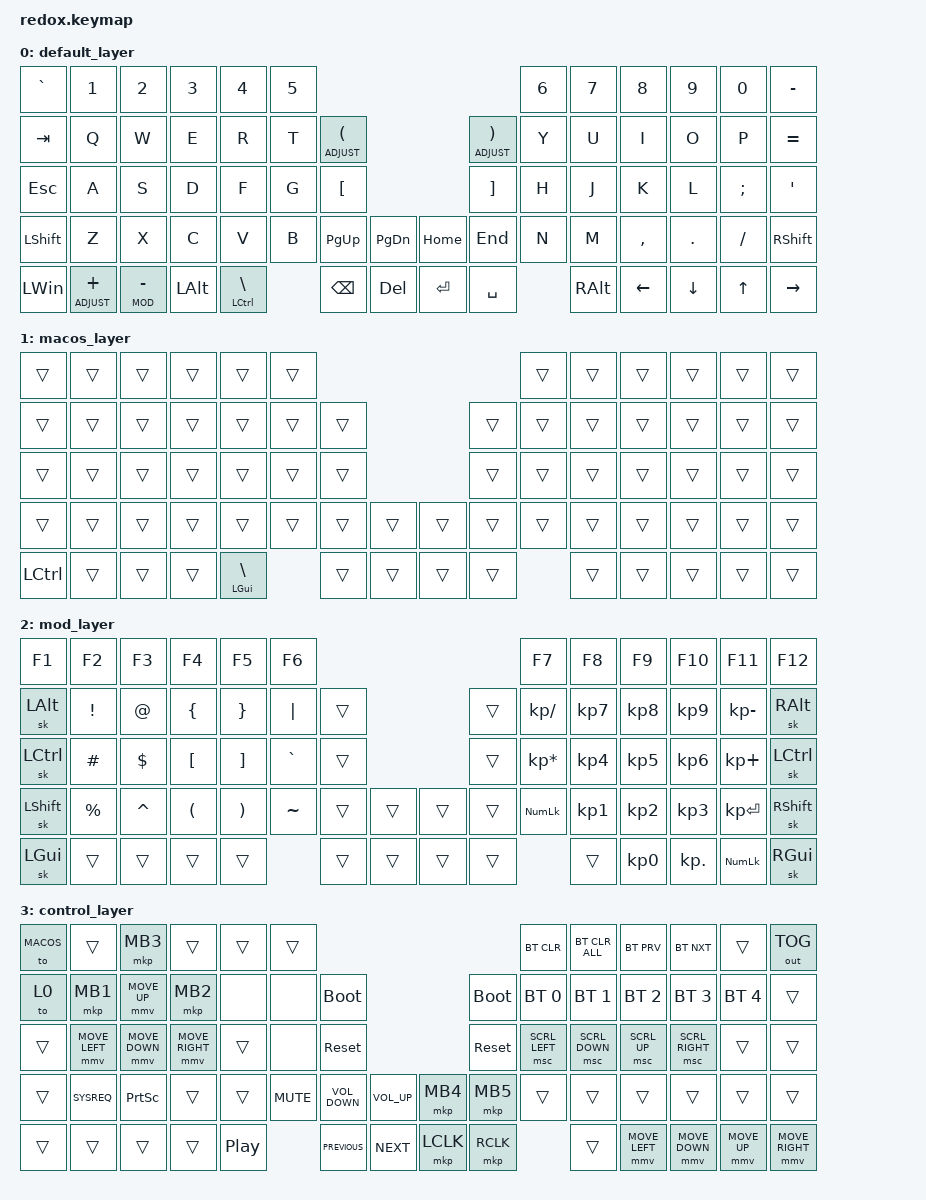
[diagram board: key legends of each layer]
/*
 * Copyright (c) 2021 The ZMK Contributors
 *
 * SPDX-License-Identifier: MIT
 */

#include <behaviors.dtsi>
#include <dt-bindings/zmk/bt.h>
#include <dt-bindings/zmk/keys.h>
#include <dt-bindings/zmk/outputs.h>
#include <dt-bindings/zmk/pointing.h>

#define MACOS 1
#define MOD 2
#define ADJUST 3

/ {
    combos {
        compatible = "zmk,combos";

        dbl_shift_caps_word_combo {
            bindings = <&caps_word>;
            key-positions = <40 55>;
        };
    };

    keymap {
        compatible = "zmk,keymap";

        default_layer {
            // --------------------------------------------------------------------------------------------------------------------------------
            // | ESC   |  1  |  2  |   3   |  4  |  5  |                   ---                |  6    |  7    |  8    |  9   | 0  |    BSPC   |
            // | TAB   |  Q  |  W  |   E   |  R  |  T  |   (   |           ---        |  )    |  Y    |  U    |  I    |  O   | P  |     -     |
            // | CTRL  |  A  |  S  |   D   |  F  |  G  |   [   |           ---        |  ]    |  H    |  J    |  K    |  L   | ;  |     '     |
            // | SHIFT |  Z  |  X  |   C   |  V  |  B  | PG_UP | PG_DOWN | --- | HOME | END   |  N    |  M    |  ,    |  .   | /  | SHFT(RET) |
            // | CRTL  | ALT | GUI | LOWER |    GUI    | LOWER | SPACE   | --- | DEL  | SPACE |     RAISE     | LEFT  | DOWN | UP |   RIGHT   |

            bindings = <
&kp GRAVE     &kp N1           &kp N2         &kp N3    &kp N4                      &kp N5                                                             &kp N6  &kp N7         &kp N8     &kp N9    &kp N0    &kp MINUS
&kp TAB       &kp Q            &kp W          &kp E     &kp R                       &kp T   &lt ADJUST LPAR                           &lt ADJUST RPAR  &kp Y   &kp U          &kp I      &kp O     &kp P     &kp EQUAL
&kp ESCAPE    &kp A            &kp S          &kp D     &kp F                       &kp G   &kp LBKT                                  &kp RBKT         &kp H   &kp J          &kp K      &kp L     &kp SEMI  &kp SQT
&kp LSHFT     &kp Z            &kp X          &kp C     &kp V                       &kp B   &kp PG_UP        &kp PG_DN     &kp HOME   &kp END          &kp N   &kp M          &kp COMMA  &kp DOT   &kp FSLH  &kp RSHFT
&kp LEFT_WIN  &lt ADJUST PLUS  &lt MOD MINUS  &kp LALT  &mt LEFT_CONTROL BACKSLASH          &kp BACKSPACE    &kp DELETE    &kp ENTER  &kp SPACE                &kp RIGHT_ALT  &kp LEFT   &kp DOWN  &kp UP    &kp RIGHT
            >;
        };

        macos_layer {
            // macOS overrides: bottom-left is Ctrl; thumb is Cmd when held and \ when tapped.

            bindings = <
&trans            &trans  &trans  &trans  &trans                  &trans                                    &trans  &trans  &trans  &trans  &trans  &trans
&trans            &trans  &trans  &trans  &trans                  &trans  &trans                    &trans  &trans  &trans  &trans  &trans  &trans  &trans
&trans            &trans  &trans  &trans  &trans                  &trans  &trans                    &trans  &trans  &trans  &trans  &trans  &trans  &trans
&trans            &trans  &trans  &trans  &trans                  &trans  &trans  &trans    &trans  &trans  &trans  &trans  &trans  &trans  &trans  &trans
&kp LEFT_CONTROL  &trans  &trans  &trans  &mt LEFT_GUI BACKSLASH          &trans  &trans    &trans  &trans          &trans  &trans  &trans  &trans  &trans
            >;
        };

        mod_layer {
            bindings = <
&kp F1     &kp F2       &kp F3      &kp F4          &kp F5           &kp F6                                       &kp F7           &kp F8     &kp F9     &kp F10     &kp F11         &kp F12
&sk LALT   &kp EXCL     &kp AT      &kp LEFT_BRACE  &kp RIGHT_BRACE  &kp PIPE   &trans                    &trans  &kp KP_SLASH     &kp KP_N7  &kp KP_N8  &kp KP_N9   &kp KP_MINUS    &sk RALT
&sk LCTRL  &kp POUND    &kp DOLLAR  &kp LBKT        &kp RBKT         &kp GRAVE  &trans                    &trans  &kp KP_ASTERISK  &kp KP_N4  &kp KP_N5  &kp KP_N6   &kp KP_PLUS     &sk LCTRL
&sk LSHFT  &kp PERCENT  &kp CARET   &kp LPAR        &kp RPAR         &kp TILDE  &trans  &trans    &trans  &trans  &kp KP_NUMLOCK   &kp KP_N1  &kp KP_N2  &kp KP_N3   &kp KP_ENTER    &sk RSHFT
&sk LGUI   &trans       &trans      &trans          &trans                      &trans  &trans    &trans  &trans                   &trans     &kp KP_N0  &kp KP_DOT  &kp KP_NUMLOCK  &sk RGUI
            >;
        };

        control_layer {
            // -----------------------------------------------------------------------------------------
            // | MACOS |  F2   |    F3    |    F4     |     F5     | F6 |                   ---                | F7  | F8  |  F9  |  F10 | F11 | F12        |
            // | WIN/LX|       |          |           |            |    | BOOTL |           ---        |  )    | BT1 | BT2 |  BT3 |  BT4 | BT5 | OUTPUT TGL |
            // | CTRL  | MUTE  |  Vol Dn  |  Vol Up   | Play/Pause |    | RESET |           ---        |  ]    | F1  | F2  |  F3  |  F4  | F5  | F6         |
            // | SHIFT | PSCRN |  PSCRN   |   CAPS    |            |    | PG_UP | PG_DOWN | --- | HOME | END   | F7  | F8  |  F9  |  F10 | F11 | F12        |
            // | CRTL  | ALT   |  GUI     |   LOWER   |      GUI        | LOWER | SPACE   | --- | DEL  | SPACE |   RAISE   | LEFT | DOWN | UP  |   RIGHT    |

            bindings = <
&to MACOS  &trans          &mkp MB3        &trans           &trans            &trans                                                                    &bt BT_CLR      &bt BT_CLR_ALL  &bt BT_PRV      &bt BT_NXT       &trans        &out OUT_TOG
&to 0      &mkp MB1        &mmv MOVE_UP    &mkp MB2         &none             &none       &bootloader                                      &bootloader  &bt BT_SEL 0    &bt BT_SEL 1    &bt BT_SEL 2    &bt BT_SEL 3     &bt BT_SEL 4  &trans
&trans     &mmv MOVE_LEFT  &mmv MOVE_DOWN  &mmv MOVE_RIGHT  &trans            &none       &sys_reset                                       &sys_reset   &msc SCRL_LEFT  &msc SCRL_DOWN  &msc SCRL_UP    &msc SCRL_RIGHT  &trans        &trans
&trans     &kp SYSREQ      &kp PSCRN       &trans           &trans            &kp C_MUTE  &kp C_VOLUME_DOWN  &kp C_VOLUME_UP    &mkp MB4   &mkp MB5     &trans          &trans          &trans          &trans           &trans        &trans
&trans     &trans          &trans          &trans           &kp C_PLAY_PAUSE              &kp C_PREVIOUS     &kp C_NEXT         &mkp LCLK  &mkp RCLK                    &trans          &mmv MOVE_LEFT  &mmv MOVE_DOWN   &mmv MOVE_UP  &mmv MOVE_RIGHT
            >;
        };
    };
};
